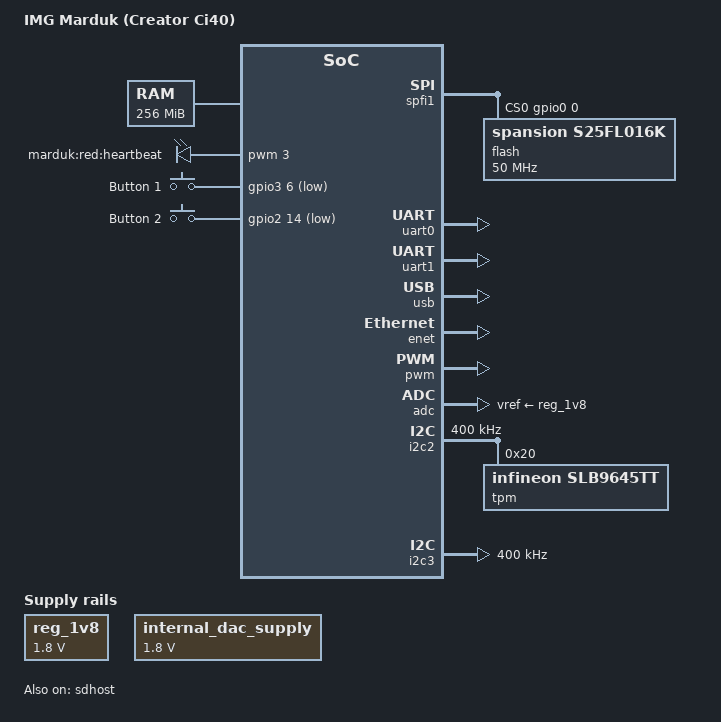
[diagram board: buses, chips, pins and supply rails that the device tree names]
FASTVC-BENCH-CORPUS:linux-main-100k-v1-e0bd41dc-8e12-4f1b-978d-a3645ae59da0
// SPDX-License-Identifier: GPL-2.0-only
/*
 * Copyright (C) 2015, 2016 Imagination Technologies Ltd.
 *
 * IMG Marduk board is also known as Creator Ci40.
 */

/dts-v1/;

#include "pistachio.dtsi"

/ {
	model = "IMG Marduk (Creator Ci40)";
	compatible = "img,pistachio-marduk", "img,pistachio";

	aliases {
		serial0 = &uart0;
		serial1 = &uart1;
		ethernet0 = &enet;
		spi0 = &spfi0;
		spi1 = &spfi1;
	};

	chosen {
		bootargs = "root=/dev/sda1 rootwait ro lpj=723968";
/* bench 1060.2.0 c073df938ecb */
/* bench 1060.2.1 c7fb8f7d408d */
/* bench 1060.2.2 2f7a1ca953b1 */
/* bench 1060.2.3 a65cba18d76e */
/* bench 1060.2.4 70e6a7b6b870 */
/* bench 1060.2.5 a0257545b332 */
/* bench 1060.2.6 1fd4f492192b */
	};

	memory {
		device_type = "memory";
		reg =  <0x00000000 0x10000000>;
	};

	reg_1v8: fixed-regulator {
		compatible = "regulator-fixed";
		regulator-name = "aux_adc_vref";
		regulator-min-microvolt = <1800000>;
		regulator-max-microvolt = <1800000>;
		regulator-boot-on;
	};

	internal_dac_supply: internal-dac-supply {
		compatible = "regulator-fixed";
		regulator-name = "internal_dac_supply";
		regulator-min-microvolt = <1800000>;
		regulator-max-microvolt = <1800000>;
	};

	led-controller {
		compatible = "pwm-leds";

		led-1 {
			label = "marduk:red:heartbeat";
			pwms = <&pwm 3 300000>;
			max-brightness = <255>;
			linux,default-trigger = "heartbeat";
		};
	};

	keys {
		compatible = "gpio-keys";
		button@1 {
			label = "Button 1";
			linux,code = <0x101>; /* BTN_1 */
			gpios = <&gpio3 6 GPIO_ACTIVE_LOW>;
		};
		button@2 {
			label = "Button 2";
			linux,code = <0x102>; /* BTN_2 */
			gpios = <&gpio2 14 GPIO_ACTIVE_LOW>;
		};
	};
};

&internal_dac {
	VDD-supply = <&internal_dac_supply>;
};

&spfi1 {
	status = "okay";

	pinctrl-0 = <&spim1_pins>, <&spim1_quad_pins>, <&spim1_cs0_pin>,
		    <&spim1_cs1_pin>;
	pinctrl-names = "default";
	cs-gpios = <&gpio0 0 GPIO_ACTIVE_HIGH>, <&gpio0 1 GPIO_ACTIVE_HIGH>;

	flash@0 {
		compatible = "spansion,s25fl016k", "jedec,spi-nor";
		reg = <0>;
		spi-max-frequency = <50000000>;
	};
};

&uart0 {
	status = "okay";
	assigned-clock-rates = <114278400>, <1843200>;
};

&uart1 {
	status = "okay";
};

&usb {
	status = "okay";
};

&enet {
	status = "okay";
};

&pin_enet {
	drive-strength = <2>;
};

&pin_enet_phy_clk {
	drive-strength = <2>;
};

&sdhost {
	status = "okay";
	bus-width = <4>;
	disable-wp;
};

&pin_sdhost_cmd {
	drive-strength = <2>;
};

&pin_sdhost_data {
	drive-strength = <2>;
};

&pwm {
	status = "okay";

	pinctrl-0 = <&pwmpdm0_pin>, <&pwmpdm1_pin>, <&pwmpdm2_pin>,
		    <&pwmpdm3_pin>;
	pinctrl-names = "default";
};

&adc {
	status = "okay";
	vref-supply = <&reg_1v8>;
	adc-reserved-channels = <0x10>;
};

&i2c2 {
	status = "okay";
	clock-frequency = <400000>;

	tpm@20 {
		compatible = "infineon,slb9645tt";
		reg = <0x20>;
/* bench 11743.2.0 b8c31db89db5 */
/* bench 11743.2.1 6f122eace531 */
/* bench 11743.2.2 1878bee5907f */
/* bench 11743.2.3 717e2d4597d9 */
/* bench 11743.2.4 02e89a3a53dd */
/* bench 11743.2.5 bb12fafd5727 */
/* bench 11743.2.6 9c3fd3c1cb0f */
/* bench 11743.2.7 cc6a952ca634 */
/* bench 11743.2.8 b46b55aa48d6 */
/* bench 11743.2.9 7aea4c216c07 */
/* bench 11743.2.10 ab3976690c93 */
/* bench 11743.2.11 01c6bf962c0f */
/* bench 11743.2.12 bddcc635640c */
/* bench 11743.2.13 80495f827ce6 */
	};

};

&i2c3 {
	status = "okay";
	clock-frequency = <400000>;
};
